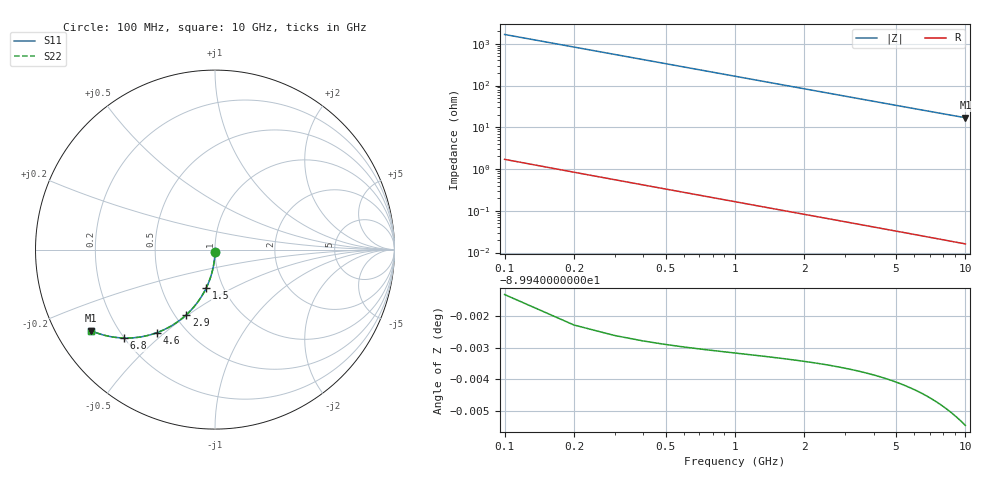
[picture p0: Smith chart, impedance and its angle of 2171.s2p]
# Hz S RI R 50.00
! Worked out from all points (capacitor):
!   100 points, 100 MHz to 10 GHz, reference 50 ohm
!   read as one part in shunt: C = 955 fF near 100 MHz
!   lowest |Z| = 16.9 ohm at 10 GHz (marker M1)
!   S11 on the Smith chart (normalised r, x): 100 MHz: 1.00, -0.03; 1.5 GHz: 0.83, -0.37; 2.9 GHz: 0.57, -0.49; 4.6 GHz: 0.35, -0.47; 6.8 GHz: 0.20, -0.39; 10 GHz: 0.10, -0.29
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1e8  -0.000213 -0.0149  0.9997 -0.0151  0.9997 -0.0151  -0.000213 -0.0149
2e8  -0.000903 -0.0298  0.999 -0.0302  0.999 -0.0302  -0.000903 -0.0298
3e8  -0.00204 -0.0446  0.9979 -0.0452  0.9979 -0.0452  -0.00204 -0.0446
4e8  -0.00362 -0.0594  0.9963 -0.0602  0.9963 -0.0602  -0.00362 -0.0594
5e8  -0.00564 -0.0741  0.9943 -0.0751  0.9943 -0.0751  -0.00564 -0.0741
6e8  -0.0081 -0.0887  0.9918 -0.0899  0.9918 -0.0899  -0.0081 -0.0887
7e8  -0.011 -0.1032  0.989 -0.1046  0.989 -0.1046  -0.011 -0.1032
9e8  -0.018 -0.1317  0.9819 -0.1335  0.9819 -0.1335  -0.018 -0.1317
1.2e9  -0.0315 -0.1731  0.9684 -0.1755  0.9684 -0.1755  -0.0315 -0.1731
1.5e9  -0.0484 -0.2126  0.9516 -0.2156  0.9516 -0.2156  -0.0484 -0.2126
1.8e9  -0.0681 -0.2498  0.9318 -0.2533  0.9318 -0.2533  -0.0681 -0.2498
2.3e9  -0.1066 -0.3058  0.8934 -0.3104  0.8934 -0.3104  -0.1066 -0.3058
2.9e9  -0.1592 -0.3626  0.8407 -0.3683  0.8407 -0.3683  -0.1592 -0.3626
3.4e9  -0.2065 -0.4009  0.7935 -0.4077  0.7935 -0.4077  -0.2065 -0.4009
4e9  -0.2646 -0.4367  0.7353 -0.4446  0.7353 -0.4446  -0.2646 -0.4367
4.6e9  -0.3223 -0.4623  0.6776 -0.4715  0.6776 -0.4715  -0.3223 -0.4623
5.1e9  -0.3689 -0.4769  0.631 -0.4871  0.631 -0.4871  -0.3689 -0.4769
5.9e9  -0.4387 -0.4898  0.5611 -0.5017  0.5611 -0.5017  -0.4387 -0.4898
6.7e9  -0.5019 -0.4927  0.4979 -0.5062  0.4979 -0.5062  -0.5019 -0.4927
6.8e9  -0.5093 -0.4926  0.4905 -0.5063  0.4905 -0.5063  -0.5093 -0.4926
8.4e9  -0.6129 -0.478  0.3869 -0.4951  0.3869 -0.4951  -0.6129 -0.478
1e10  -0.6918 -0.451  0.3079 -0.4714  0.3079 -0.4714  -0.6918 -0.451
